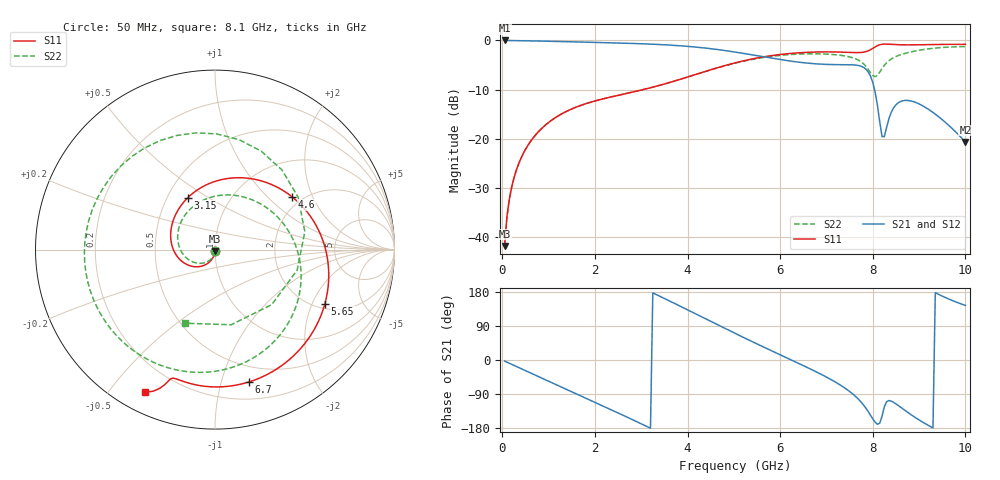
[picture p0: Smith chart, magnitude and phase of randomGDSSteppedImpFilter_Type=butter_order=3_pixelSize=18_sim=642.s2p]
! freq	dB(S11)	phase(S11)	dB(S12)	phase(S12)
!  dB(S21)	phase(S21)	dB(S22)	phase(S22)
!S-par simulation data
#  GHz  S  DB  R 50
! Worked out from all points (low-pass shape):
!   200 points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, 50 MHz to 10 GHz, reference 50 ohm
!   highest |S21| = -0.01 dB at 50 MHz (marker M1); lowest = -20.6 dB at 10 GHz (marker M2)
!   |S21| within 3 dB of the highest: start of sweep to 5.441 GHz
!   lowest |S11| = -41.7 dB at 50 MHz (marker M3), VSWR 1.02, Z = 50 - j0.818 ohm
!   |S11| at or under -10 dB: start of sweep to 3.033 GHz
!   |S22| runs from -41.8 to -1.2 dB; largest |S21 - S12| = 0
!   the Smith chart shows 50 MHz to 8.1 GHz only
!   S11 on the Smith chart (normalised r, x): 50 MHz: 1.00, -0.02; 3.15 GHz: 0.63, +0.41; 4.6 GHz: 1.77, +1.43; 5.65 GHz: 2.22, -2.50; 6.7 GHz: 0.35, -1.23; 8.1 GHz: 0.08, -0.62
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0.05  -41.75 -91.0  -0.01 -2.9  -0.01 -2.9  -41.76 -91.8
0.2  -29.89 -99.6  -0.02 -11.3  -0.02 -11.3  -29.91 -102.4
0.5  -22.13 -115.0  -0.07 -28.1  -0.07 -28.1  -22.15 -121.9
1.75  -13.00 -175.1  -0.34 -97.6  -0.34 -97.6  -13.01 158.2
2.5  -11.15 149.9  -0.52 -139.6  -0.52 -139.6  -11.14 109.0
3.15  -9.73 117.7  -0.73 -177.0  -0.73 -177.0  -9.72 66.4
3.4  -9.11 104.5  -0.83 168.3  -0.83 168.3  -9.10 50.4
4.6  -5.67 34.3  -1.79 96.1  -1.79 96.1  -5.70 -23.3
5.05  -4.50 7.5  -2.39 69.0  -2.39 69.0  -4.56 -50.3
5.65  -3.32 -26.2  -3.34 33.7  -3.34 33.7  -3.45 -86.7
6.7  -2.37 -75.5  -4.70 -26.5  -4.70 -26.5  -2.71 -157.6
7.2  -2.34 -94.2  -4.91 -58.8  -4.91 -58.8  -2.91 156.4
7.6  -2.47 -105.6  -4.98 -93.1  -4.98 -93.1  -3.62 99.3
7.75  -2.45 -108.2  -5.24 -111.3  -5.24 -111.3  -4.35 64.9
7.9  -2.12 -109.7  -6.36 -135.8  -6.36 -135.8  -5.84 11.3
8.1  -1.05 -116.0  -13.12 -169.5  -13.12 -169.5  -7.09 -111.9
8.2  -0.78 -121.6  -19.51 -148.7  -19.51 -148.7  -5.71 -169.3
8.35  -0.76 -129.1  -15.84 -107.0  -15.84 -107.0  -4.09 133.0
8.6  -0.89 -138.4  -12.40 -124.6  -12.40 -124.6  -2.90 72.7
9.05  -0.87 -152.8  -13.12 -161.9  -13.12 -161.9  -1.91 2.0
9.5  -0.81 -167.1  -16.09 168.6  -16.09 168.6  -1.43 -46.8
10  -0.79 176.8  -20.62 144.1  -20.62 144.1  -1.25 -87.1
